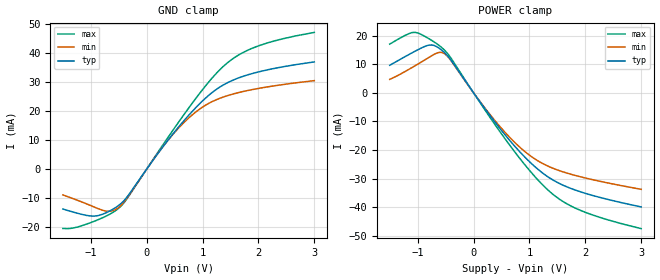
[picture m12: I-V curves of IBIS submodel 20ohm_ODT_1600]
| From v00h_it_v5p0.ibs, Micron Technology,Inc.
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| SUBMODEL 20ohm_ODT_1600
[Submodel]   20ohm_ODT_1600
Submodel_type  Dynamic_clamp
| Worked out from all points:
|   POWER clamp passes 1 mA (typ) near -0.04 V on its own axis
[GND Clamp]
|   Voltage   I(typ)   I(min)   I(max)
-1.5V     -13.72mA   -8.872mA   -20.4mA
-935mV    -16.16mA   -13.07mA   -17.91mA
-710mV    -14.86mA   -14.48mA   -16mA
-560mV    -13.27mA   -13.92mA   -14.32mA
-365mV    -9.92mA    -10.3mA    -10.53mA
195mV     5.209mA    5.273mA    5.619mA
595mV     15.03mA    14.62mA    16.79mA
995mV     23.35mA    21.26mA    27.2mA
1.39V     29.13mA    24.91mA    35.64mA
1.705V    31.77mA    26.59mA    39.89mA
2.025V    33.54mA    27.83mA    42.54mA
3V        36.86mA    30.42mA    47.01mA
[POWER Clamp]
|   Voltage   I(typ)   I(min)   I(max)
-1.5V     9.644mA    4.699mA    17.04mA
-1.04V    14.63mA    9.545mA    21.14mA
-750mV    16.74mA    12.96mA    18.35mA
-540mV    14.44mA    13.92mA    15.32mA
-430mV    12.11mA    11.93mA    12.86mA
175mV     -4.783mA   -4.603mA   -5.148mA
570mV     -14.84mA   -13.96mA   -16.25mA
965mV     -23.41mA   -21.27mA   -26.28mA
1.32V     -29.25mA   -25.54mA   -33.79mA
1.58V     -32.12mA   -27.52mA   -37.77mA
1.91V     -34.61mA   -29.37mA   -41.1mA
3V        -39.93mA   -33.77mA   -47.53mA
